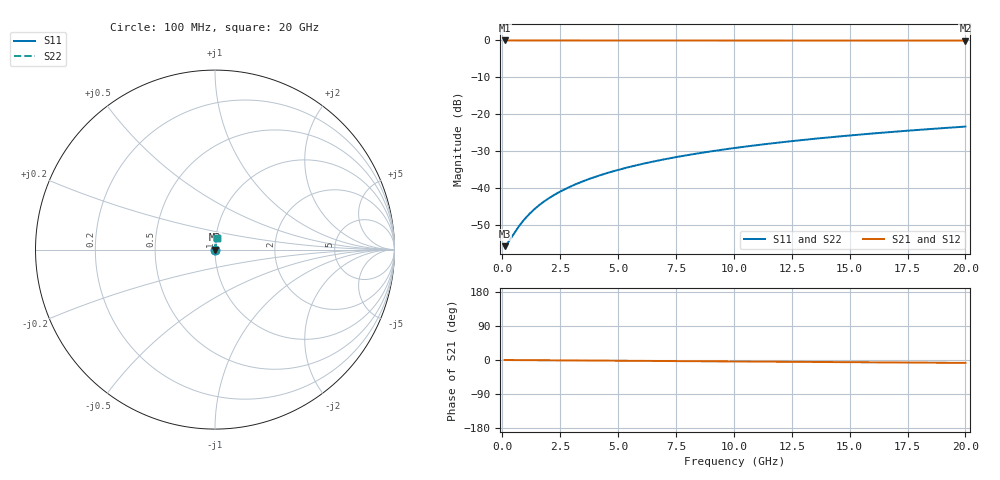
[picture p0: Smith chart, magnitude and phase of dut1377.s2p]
! Touchstone file exported from HFSS 2026.1.0
!  File:  C:/ffzhzh/LocalFiles/Ansys_Project_Files/temp_train_TSV_1377_1783196382_55132.aedt
!  Generated:  04:21:51 AM Jul  5, 2026
!  Design:  TSV
!  Project:  temp_train_TSV_1377_1783196382_55132
! Variables:
!  h_bsmrdl = 2um
!  h_ox = 20um
!  h_rdl = 5um
!  h_sub = 67.79um
!  h_tmrdl = 5um
!  h_tsv = 67.79um
!  h_via = 3um
!  l_bsmrdl = 300um
!  l_sub = 404.42um
!  l_tmrdl = 200um
!  m_sub = 200um
!  pitch = 22.48um
!  r_tsv = 2.21um
!  s_tmrdl = 10um
!  w_bsmrdl = 18um
!  w_sub = 500um
!  w_tmrdl = 12um
!  x_tsv_center1 = 206um
!  x_tsv_center2 = 524um
!  x_tsv_center3 = 736um
!  x_tsv_center4 = 1054um
!  x_tsv_center5 = 1266um
!  x_tsv_center6 = 1584um
# GHz S MA R 50.000000
! Terminal data exported
! Port[1] = TSV1_1_T1
! Port[2] = TSV1_1_T2
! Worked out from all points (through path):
!   200 points, 100 MHz to 20 GHz, reference 50 ohm
!   highest |S21| = -0.01 dB at 100 MHz (marker M1); lowest = -0.1 dB at 20 GHz (marker M2)
!   group delay of S21, straight-line fit = 1.06 ps
!   lowest |S11| = -55.7 dB at 100 MHz (marker M3), VSWR 1.00, Z = 50.2 + j0.0363 ohm
!   |S11| at or under -10 dB: start of sweep to end of sweep
!   |S22| runs from -55.7 to -23.3 dB; largest |S21 - S12| = 3.4e-15
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0.1  0.001648 12.7  0.9984 -0.0  0.9984 -0.0  0.001648 12.7
! Gamma 0 0 0 0
! Port Impedance 50 0 50 0
0.2  0.001767 24.2  0.9984 -0.1  0.9984 -0.1  0.001767 24.2
0.3  0.001948 33.8  0.9984 -0.1  0.9984 -0.1  0.001948 33.8
0.6  0.00271 52.5  0.9984 -0.2  0.9984 -0.2  0.00271 52.6
0.7  0.003004 56.5  0.9984 -0.3  0.9984 -0.3  0.003004 56.5
0.9  0.003621 62.4  0.9983 -0.4  0.9983 -0.4  0.003621 62.4
1.2  0.004592 68.1  0.9983 -0.5  0.9983 -0.5  0.004592 68.1
1.5  0.005592 71.8  0.9983 -0.6  0.9983 -0.6  0.005592 71.8
1.9  0.00695 75.0  0.9983 -0.7  0.9983 -0.7  0.00695 75.0
2.4  0.008669 77.5  0.9982 -0.9  0.9982 -0.9  0.008669 77.5
2.9  0.0104 79.1  0.9982 -1.1  0.9982 -1.1  0.0104 79.1
3.5  0.01249 80.3  0.9981 -1.4  0.9981 -1.4  0.01249 80.3
4.2  0.01492 81.2  0.998 -1.6  0.998 -1.6  0.01492 81.2
5  0.01771 81.8  0.9979 -1.9  0.9979 -1.9  0.01771 81.8
5.9  0.02084 82.2  0.9978 -2.3  0.9978 -2.3  0.02084 82.2
6.8  0.02396 82.3  0.9976 -2.6  0.9976 -2.6  0.02396 82.3
8.3  0.02913 82.3  0.9973 -3.2  0.9973 -3.2  0.02913 82.3
10.1  0.03528 82.0  0.9969 -3.9  0.9969 -3.9  0.03528 82.0
11.7  0.04071 81.6  0.9964 -4.5  0.9964 -4.5  0.04071 81.6
13.4  0.04644 81.2  0.996 -5.2  0.996 -5.2  0.04644 81.2
16.7  0.05743 80.2  0.995 -6.4  0.995 -6.4  0.05743 80.2
20  0.06829 79.2  0.9939 -7.6  0.9939 -7.6  0.06829 79.2
